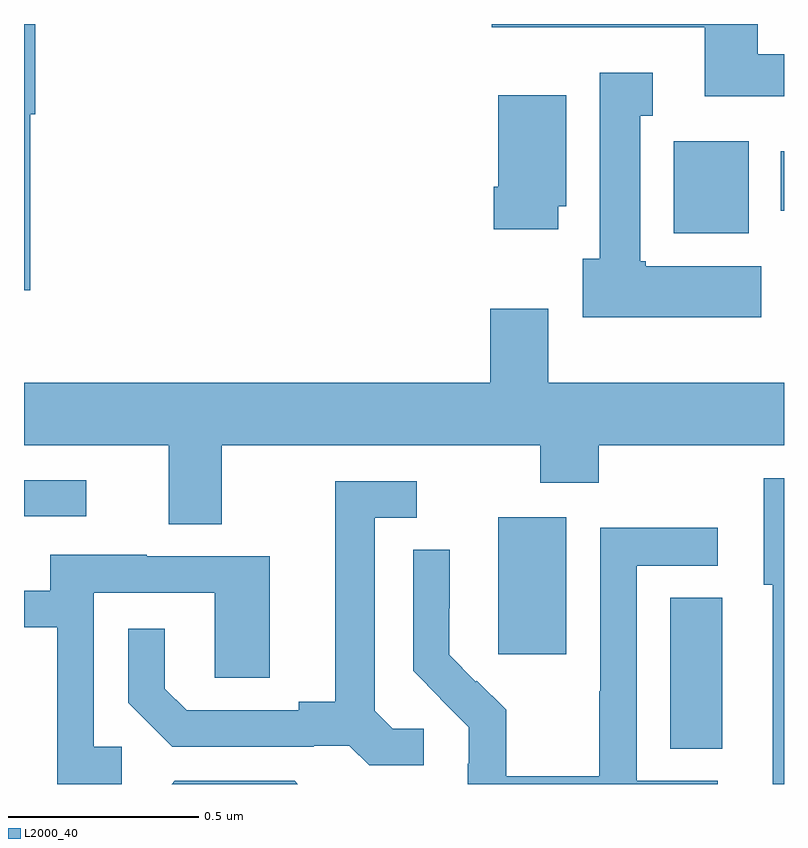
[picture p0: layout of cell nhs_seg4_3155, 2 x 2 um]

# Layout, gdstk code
import gdstk
lib = gdstk.Library(unit=1e-6, precision=1e-09)
def R(c, l, rs):  # rectangles x0, y0, x1, y1
    for r in rs: c.add(gdstk.rectangle(r[:2], r[2:], *l))
def P(c, l, *ps):  # polygons
    for p in ps: c.add(gdstk.Polygon(p, *l))
L2000_40 = (2000, 40)

nhs_seg4_3155 = lib.new_cell('nhs_seg4_3155')
R(nhs_seg4_3155, L2000_40, [(150.701,823.993,150.838,824.39), (150.248,824.241,150.427,824.602), (149,824.604,149.164,824.7), (150.71,825.35,150.907,825.592), (150.992,825.409,151,825.565)])
P(nhs_seg4_3155, L2000_40, [(149.017,825.662),(149.03,825.662),(149.03,825.9),(149,825.9),(149,825.2),(149.017,825.2)],
  [(151,825.82),(150.931,825.82),(150.931,825.9),(150.231,825.9),(150.231,825.891),(150.791,825.891),(150.791,825.71),(151,825.71)],
  [(150.94,825.262),(150.636,825.262),(150.636,825.276),(150.622,825.276),(150.622,825.659),(150.655,825.659),(150.655,825.772),(150.515,825.772),(150.515,825.282),(150.47,825.282),(150.47,825.128),(150.94,825.128)],
  [(150.406,825.42),(150.427,825.42),(150.427,825.712),(150.248,825.712),(150.248,825.472),(150.236,825.472),(150.236,825.36),(150.406,825.36)],
  [(149.521,824.792),(150.358,824.792),(150.358,824.693),(150.513,824.693),(150.513,824.792),(151,824.792),(151,824.956),(150.379,824.956),(150.379,825.151),(150.227,825.151),(150.227,824.956),(149,824.956),(149,824.792),(149.381,824.792),(149.381,824.584),(149.521,824.584)],
  [(151,824.704),(150.947,824.704),(150.947,824.424),(150.971,824.424),(150.971,823.9),(151,823.9)],
  [(150.052,824.046),(149.97,824.046),(149.923,824.093),(149.923,824.601),(150.034,824.601),(150.034,824.697),(149.819,824.697),(149.819,824.117),(149.723,824.117),(149.723,824.094),(149.428,824.094),(149.371,824.151),(149.371,824.308),(149.274,824.308),(149.274,824.114),(149.39,823.998),(149.762,823.998),(149.762,824.001),(149.856,824.001),(149.908,823.949),(150.052,823.949)],
  [(150.826,823.908),(150.612,823.908),(150.612,824.475),(150.826,824.475),(150.826,824.574),(150.516,824.574),(150.516,824.144),(150.514,824.144),(150.514,823.921),(150.269,823.921),(150.269,824.095),(150.192,824.172),(150.189,824.169),(150.119,824.24),(150.119,824.362),(150.12,824.362),(150.12,824.516),(150.024,824.516),(150.024,824.198),(150.097,824.125),(150.096,824.124),(150.17,824.05),(150.17,823.953),(150.168,823.953),(150.168,823.9),(150.826,823.9)],
  [(149.257,823.998),(149.184,823.998),(149.184,824.403),(149.502,824.403),(149.502,824.179),(149.647,824.179),(149.647,824.499),(149.323,824.499),(149.323,824.503),(149.069,824.503),(149.069,824.409),(149,824.409),(149,824.313),(149.088,824.313),(149.088,823.9),(149.257,823.9)],
  [(149.712,823.908),(149.397,823.908),(149.389,823.9),(149.72,823.9)])

lib.write_gds('nhs_seg4_3155.gds')
